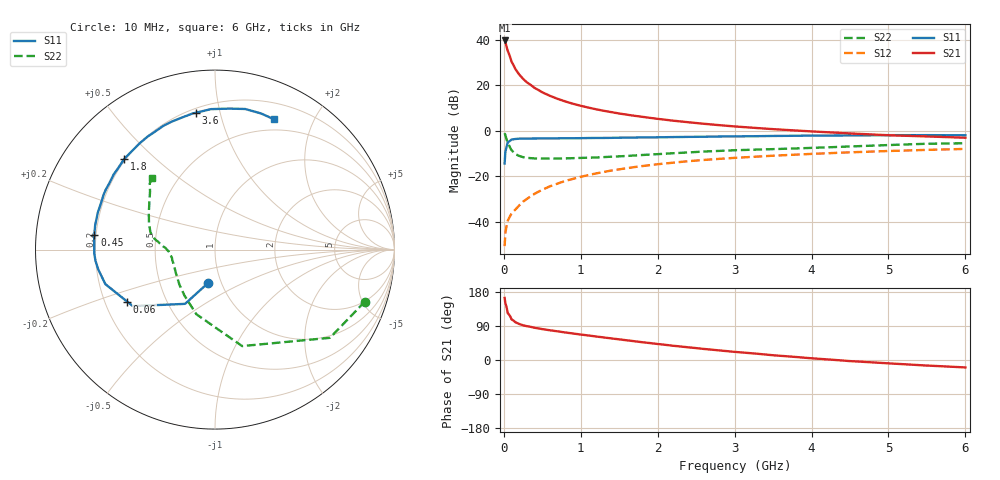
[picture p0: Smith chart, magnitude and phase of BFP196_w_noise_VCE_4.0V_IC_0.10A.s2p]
! Infineon Technologies  Discrete & RF Semiconductors
! BFP196
! VCE =  4.0 V,  IC = 0.10 A
! Common Emitter S-Parameters:  Jan 2017
# GHz  S  MA  R  50
!  f  S11  S21  S12  S22
! GHz  MAG  ANG  MAG  ANG  MAG  ANG  MAG  ANG
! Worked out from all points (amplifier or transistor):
!   77 points, 10 MHz to 6 GHz, reference 50 ohm
!   highest |S21| = 39.7 dB at 10 MHz (marker M1)
!   |S21| within 3 dB of that: start of sweep to 37.7 MHz
!   unconditionally stable (mu >= 1): 367.8 MHz to 2.383 GHz
!   at 130 MHz: K = 0.78, MSG = 32.0 dB, |S12| = -35.3 dB
!   at 2.2 GHz: K = 1.01, MAG = 8.6 dB, |S12| = -14.0 dB
!   at 6 GHz: K = 0.96, MSG = 2.5 dB, |S12| = -8.0 dB
!   lowest NFmin = 2.04 dB at 450 MHz
!   S11 on the Smith chart (normalised r, x): 10 MHz: 0.87, -0.33; 60 MHz: 0.29, -0.25; 450 MHz: 0.19, +0.06; 1.8 GHz: 0.19, +0.40; 3.6 GHz: 0.23, +0.85; 6 GHz: 0.37, +1.48
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0.01  0.1895 -101.6  96.63 163.8  0.0029 79.7  0.8842 -19.1
0.02  0.3453 -118.9  88.53 149.8  0.0056 67.9  0.8074 -37.5
0.05  0.5559 -145.5  57.47 123.8  0.0104 55.9  0.5583 -74.3
0.06  0.5684 -149.3  52.34 121.7  0.0113 56.9  0.5119 -78.7
0.1  0.6403 -162.5  33.06 107.0  0.015 59.7  0.3747 -106.1
0.15  0.6596 -170.3  22.72 99.7  0.0185 62.4  0.3074 -123.6
0.2  0.669 -174.7  17.22 95.0  0.0228 65.1  0.2791 -135.1
0.25  0.6729 -178.2  13.84 91.6  0.0275 67.7  0.2628 -142.8
0.3  0.6733 179.2  11.57 89.2  0.0318 69.1  0.2541 -149.0
0.4  0.6755 175.1  8.736 85.0  0.0411 70.9  0.2465 -156.6
0.45  0.6766 173.2  7.862 83.4  0.0457 70.7  0.2451 -159.2
0.6  0.6816 168.2  5.855 78.4  0.0601 70.4  0.2452 -166.0
0.7  0.6819 165.4  5.022 75.6  0.0691 70.6  0.2442 -169.0
0.9  0.6852 159.4  3.912 69.9  0.0875 68.3  0.2497 -173.1
1.1  0.6917 153.9  3.227 64.7  0.106 66.1  0.2554 -176.3
1.8  0.7147 135.2  2.025 46.9  0.1674 56.3  0.293 175.9
2.1  0.7213 127.7  1.745 40.0  0.191 51.8  0.3131 173.1
3.1  0.7546 106.7  1.21 19.8  0.2588 37.6  0.3771 163.5
3.6  0.7701 97.9  1.06 11.0  0.2878 31.4  0.3993 157.1
4.1  0.7832 90.1  0.947 3.1  0.3148 25.1  0.4257 149.9
5.1  0.8003 76.6  0.787 -10.0  0.3627 13.4  0.4912 137.5
6  0.7971 65.7  0.702 -19.6  0.3988 3.3  0.5313 131.2
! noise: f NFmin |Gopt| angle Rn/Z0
0.45  2.04  0.54  -169  0.07
0.9  2.24  0.56  -156  0.12
1.9  3.18  0.71  -128  0.52
2.4  3.65  0.7  -115  1.08
